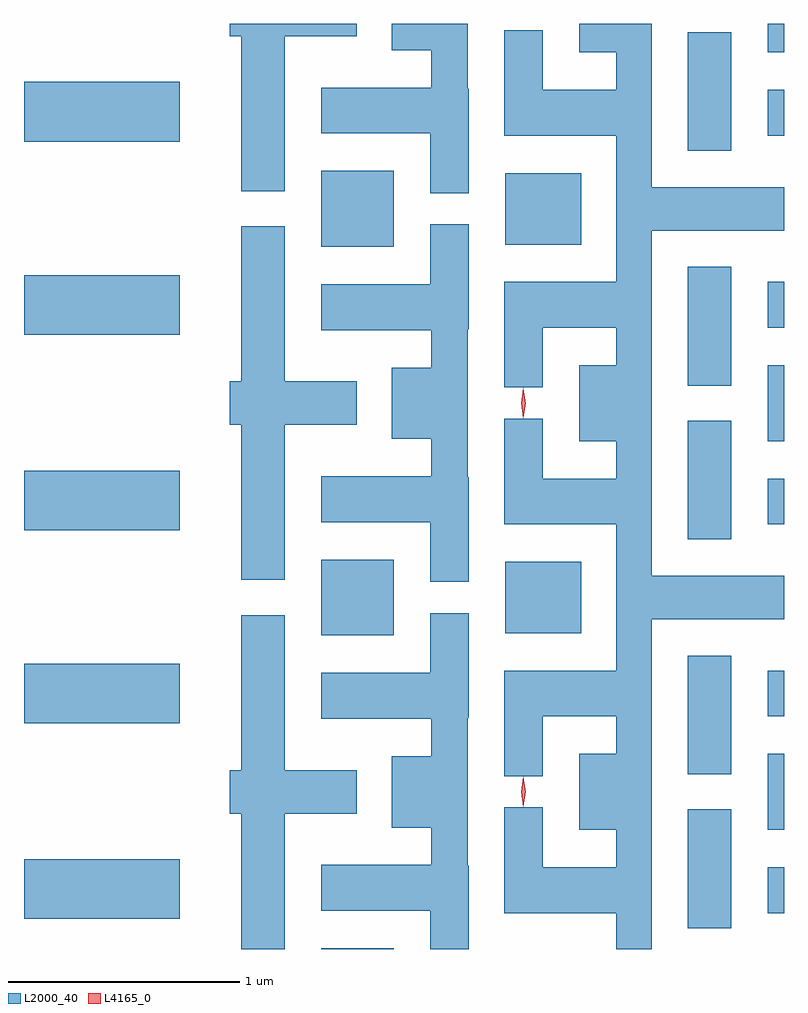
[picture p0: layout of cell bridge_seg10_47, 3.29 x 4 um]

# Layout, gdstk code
import gdstk
lib = gdstk.Library(unit=1e-6, precision=1e-09)
def R(c, l, rs):  # rectangles x0, y0, x1, y1
    for r in rs: c.add(gdstk.rectangle(r[:2], r[2:], *l))
def P(c, l, *ps):  # polygons
    for p in ps: c.add(gdstk.Polygon(p, *l))
L2000_40 = (2000, 40)
L4165_0 = (4165, 0)

bridge_seg10_47 = lib.new_cell('bridge_seg10_47')
R(bridge_seg10_47, L2000_40, [(1624.131,2165.13,1624.444,2165.134), (1625.716,2165.221,1625.904,2165.734), (1622.846,2165.261,1623.519,2165.519), (1626.061,2165.286,1626.131,2165.484), (1626.061,2165.646,1626.131,2165.974), (1625.716,2165.886,1625.904,2166.399), (1622.846,2166.106,1623.519,2166.364), (1626.061,2166.136,1626.131,2166.334), (1624.131,2166.486,1624.444,2166.814), (1624.926,2166.496,1625.254,2166.804), (1625.716,2166.901,1625.904,2167.414), (1622.846,2166.941,1623.519,2167.199), (1626.061,2166.966,1626.131,2167.164), (1626.061,2167.326,1626.131,2167.654), (1625.716,2167.566,1625.904,2168.079), (1622.846,2167.786,1623.519,2168.044), (1626.061,2167.816,1626.131,2168.014), (1624.131,2168.166,1624.444,2168.494), (1624.926,2168.176,1625.254,2168.484), (1625.716,2168.581,1625.904,2169.094), (1622.846,2168.621,1623.519,2168.879), (1626.061,2168.646,1626.131,2168.844), (1626.061,2169.006,1626.131,2169.13)])
P(bridge_seg10_47, L2000_40, [(1625.406,2167.326),(1625.406,2167.164),(1625.089,2167.164),(1625.089,2167.423),(1624.921,2167.423),(1624.921,2166.966),(1625.406,2166.966),(1625.406,2166.334),(1624.921,2166.334),(1624.921,2165.878),(1625.089,2165.878),(1625.089,2166.136),(1625.406,2166.136),(1625.406,2165.974),(1625.246,2165.974),(1625.246,2165.646),(1625.406,2165.646),(1625.406,2165.484),(1625.089,2165.484),(1625.089,2165.743),(1624.921,2165.743),(1624.921,2165.286),(1625.406,2165.286),(1625.406,2165.13),(1625.559,2165.13),(1625.559,2166.556),(1626.131,2166.556),(1626.131,2166.744),(1625.559,2166.744),(1625.559,2168.236),(1626.131,2168.236),(1626.131,2168.424),(1625.559,2168.424),(1625.559,2169.13),(1625.246,2169.13),(1625.246,2169.006),(1625.406,2169.006),(1625.406,2168.844),(1625.089,2168.844),(1625.089,2169.103),(1624.921,2169.103),(1624.921,2168.646),(1625.406,2168.646),(1625.406,2168.014),(1624.921,2168.014),(1624.921,2167.558),(1625.089,2167.558),(1625.089,2167.816),(1625.406,2167.816),(1625.406,2167.654),(1625.246,2167.654),(1625.246,2167.326)],
  [(1623.974,2169.076),(1624.284,2169.076),(1624.284,2169.13),(1623.736,2169.13),(1623.736,2169.076),(1623.786,2169.076),(1623.786,2168.406),(1623.974,2168.406)],
  [(1624.769,2168.85),(1624.764,2168.85),(1624.764,2169.13),(1624.436,2169.13),(1624.436,2169.016),(1624.606,2169.016),(1624.606,2168.854),(1624.131,2168.854),(1624.131,2168.656),(1624.601,2168.656),(1624.601,2168.398),(1624.769,2168.398)],
  [(1624.769,2167.17),(1624.764,2167.17),(1624.764,2167.81),(1624.769,2167.81),(1624.769,2168.263),(1624.601,2168.263),(1624.601,2168.004),(1624.131,2168.004),(1624.131,2167.806),(1624.606,2167.806),(1624.606,2167.644),(1624.436,2167.644),(1624.436,2167.336),(1624.606,2167.336),(1624.606,2167.174),(1624.131,2167.174),(1624.131,2166.976),(1624.601,2166.976),(1624.601,2166.718),(1624.769,2166.718)],
  [(1623.974,2167.396),(1624.284,2167.396),(1624.284,2167.584),(1623.974,2167.584),(1623.974,2168.254),(1623.786,2168.254),(1623.786,2167.584),(1623.736,2167.584),(1623.736,2167.396),(1623.786,2167.396),(1623.786,2166.726),(1623.974,2166.726)],
  [(1624.769,2165.49),(1624.764,2165.49),(1624.764,2166.13),(1624.769,2166.13),(1624.769,2166.583),(1624.601,2166.583),(1624.601,2166.324),(1624.131,2166.324),(1624.131,2166.126),(1624.606,2166.126),(1624.606,2165.964),(1624.436,2165.964),(1624.436,2165.656),(1624.606,2165.656),(1624.606,2165.494),(1624.131,2165.494),(1624.131,2165.296),(1624.601,2165.296),(1624.601,2165.13),(1624.769,2165.13)],
  [(1623.974,2165.716),(1624.284,2165.716),(1624.284,2165.904),(1623.974,2165.904),(1623.974,2166.574),(1623.786,2166.574),(1623.786,2165.904),(1623.736,2165.904),(1623.736,2165.716),(1623.786,2165.716),(1623.786,2165.13),(1623.974,2165.13)])
P(bridge_seg10_47, L4165_0, [(1625.005,2165.744),(1625.004,2165.745),(1624.995,2165.81),(1625.004,2165.875),(1625.005,2165.876),(1625.005,2165.875),(1625.015,2165.81),(1625.005,2165.745)],
  [(1625.005,2167.424),(1625.004,2167.425),(1624.995,2167.49),(1625.004,2167.555),(1625.005,2167.556),(1625.005,2167.555),(1625.015,2167.49),(1625.005,2167.425)])

lib.write_gds('bridge_seg10_47.gds')
